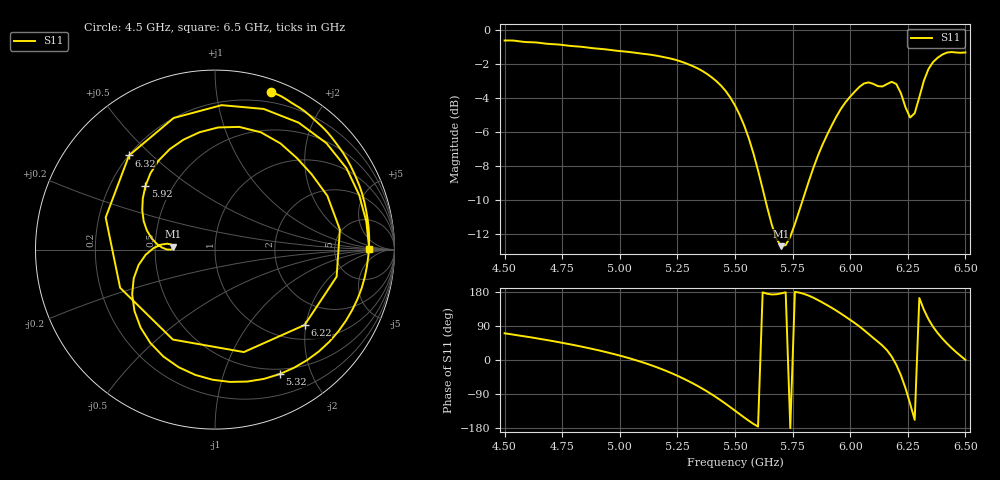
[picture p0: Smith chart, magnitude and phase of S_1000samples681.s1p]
! TOUCHSTONE file generated by CST MICROWAVE STUDIO
! Date and time: Sat Oct 29 00:29:58 2022
! Project name: L.cst
! Parameters = {Di=1.27; Epsilon_r=1.56; InnerDiameter=1.27; Length=2; Lf=10; Lg=60; OuterConductorThickness=0.2921; OuterDiameter=3.6; Wf=3; Wp=41.2; de=1.5; df=6.8; g=0.8; gx=2.69666; gy=1.15212; h=2.34; hf=1.524; px=9.04884; py=12.8352; w=9.7; wx=6.35218; wy=11.683}
! Header version: 2018
! Port assignment regex: !\s*Touchstone port\s*([0-9]+)\s*=\s*(CST MWS port|CST DS port)\s*([0-9]+|Zmin|Zmax)\s*\(\"(.*)\"\)(\s*mode\s*([0-9]+))?.*
! Touchstone port assignment:
! Touchstone port 1 = CST MWS port 1 ("")
# GHz S DB R 50
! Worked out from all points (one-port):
!   101 points, 4.5 GHz to 6.5 GHz, reference 50 ohm
!   lowest |S11| = -12.7 dB at 5.7 GHz (marker M1), VSWR 1.60, Z = 31.2 + j1.12 ohm
!   |S11| at or under -10 dB: 5.632 GHz to 5.793 GHz (161.1 MHz wide, 2.82 % of centre)
!   S11 on the Smith chart (normalised r, x): 4.5 GHz: 0.11, +1.41; 5.32 GHz: 0.44, -1.56; 5.92 GHz: 0.35, +0.34; 6.22 GHz: 1.35, -1.97; 6.32 GHz: 0.20, +0.43; 6.5 GHz: 13, +1
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4.5  -0.62 70.5
4.76  -0.89 44.1
5  -1.24 11.6
5.14  -1.46 -14.6
5.26  -1.83 -44.4
5.32  -2.14 -62.6
5.42  -3.01 -98.9
5.5  -4.43 -133.7
5.6  -8.24 -175.8
5.7  -12.69 175.8
5.76  -11.38 179.8
5.84  -8.10 164.4
5.92  -5.60 137.7
6  -3.91 105.9
6.06  -3.14 78.9
6.14  -3.31 38.0
6.18  -3.04 9.1
6.2  -3.17 -12.6
6.22  -3.71 -40.0
6.24  -4.54 -74.3
6.26  -5.14 -115.1
6.28  -4.89 -158.1
6.3  -3.95 163.6
6.32  -2.97 132.4
6.34  -2.29 107.4
6.38  -1.63 70.9
6.44  -1.29 31.7
6.5  -1.32 0.3
